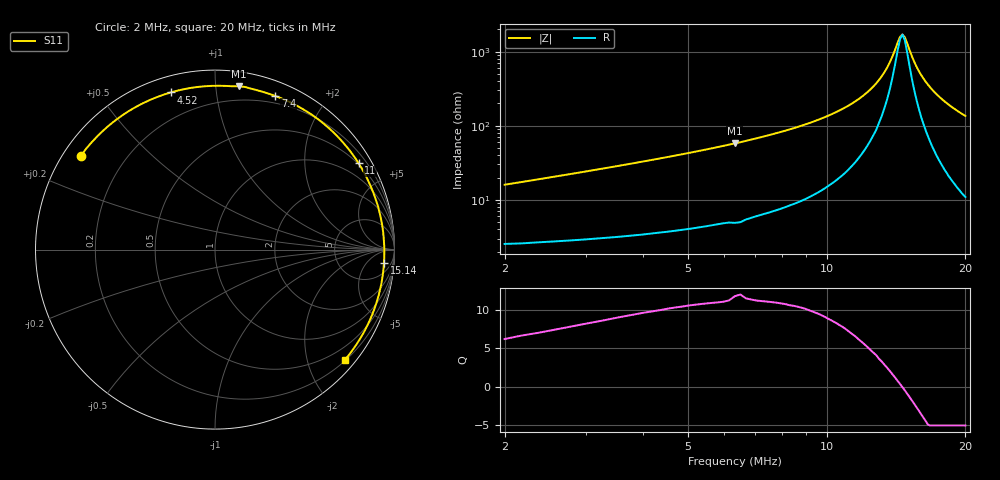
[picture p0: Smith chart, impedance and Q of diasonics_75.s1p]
# Hz S RI R 50
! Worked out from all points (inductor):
!   101 points, 2 MHz to 20 MHz, reference 50 ohm
!   read as one part to ground: L = 1.22 uH near 2 MHz
!   highest Q = 11.8 at 6.32 MHz (marker M1), where L = 1.45 uH
!   self-resonance near 14.59 MHz
!   S11 on the Smith chart (normalised r, x): 2 MHz: 0.05, +0.32; 4.52 MHz: 0.07, +0.75; 7.4 MHz: 0.13, +1.46; 11 MHz: 0.47, +3.54; 15.14 MHz: 13, -17; 20 MHz: 0.22, -2.70
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2000000  -0.7461 0.5242
2540000  -0.6549 0.6322
3080000  -0.5522 0.7224
3620000  -0.4413 0.7947
3980000  -0.3644 0.8329
4340000  -0.2865 0.8629
4520000  -0.2473 0.8755
5060000  -0.1299 0.9017
5420000  -0.0526 0.9104
6320000  0.1319 0.91
6500000  0.1666 0.9062
7400000  0.3357 0.8561
8120000  0.4552 0.8023
8840000  0.5611 0.7361
9920000  0.6958 0.6165
1.046e7  0.7514 0.5507
1.1e7  0.7997 0.4819
1.154e7  0.8403 0.4108
1.208e7  0.8737 0.3383
1.28e7  0.9082 0.2417
1.334e7  0.9254 0.1675
1.424e7  0.9412 0.0461
1.514e7  0.9414 -0.0723
1.55e7  0.9376 -0.1187
1.658e7  0.9124 -0.2527
1.784e7  0.8599 -0.3988
1.874e7  0.8099 -0.4942
2e7  0.723 -0.6148
